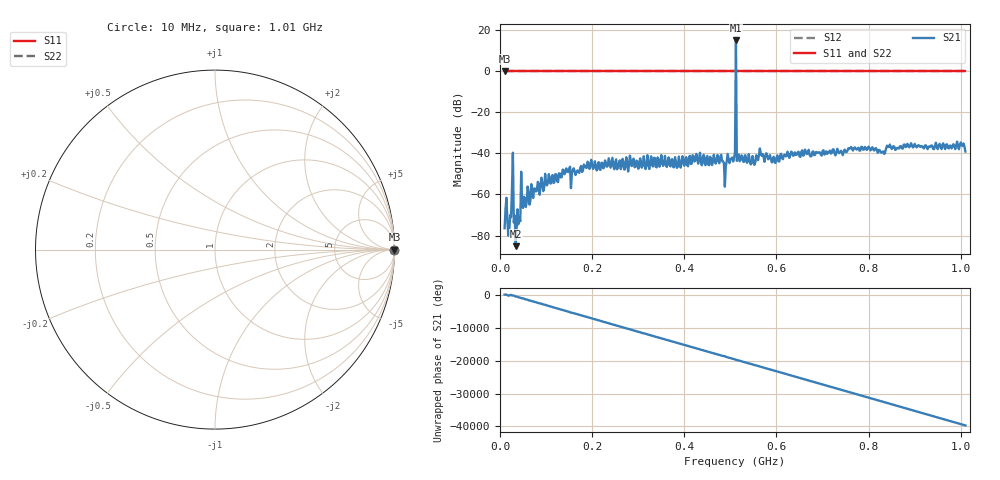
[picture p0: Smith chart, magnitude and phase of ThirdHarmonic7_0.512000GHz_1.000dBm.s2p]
! 8/17/2025 2:53:15 PM
! C:\ANRITSUVNA\TEMP\TEMP.S2P
! CHANNEL.1
! TR.MEASUREMENT
! RAW.DATA
! RF.CORRECTION.OFF
! AVERAGING.OFF
! IF.BANDWIDTH: 5KHZ
! SWEEPTYPE:  FREQ.SWEEP(Linear)
! Reference Plane Port Info
! PORT:  PORT1  PORT2
! DISTANCE:  0  m  0  m
! TIME:  0  s  0  s
! PHASE.OFFSET:  0  deg.  0  deg.
! LOSS:  0  dB  0  dB
! REF.LOSS:  0  dB  0  dB
! REF.FREQ:  0  Hz  0  Hz
! Power Info
! POWER:  -20  dBm  -20  dBm
! EFF.POWER:  -20  dBm  -20  dBm
! SOURCE.ATTEN:  0  dB  0  dB
! TEST.ATTEN:  0  dB  0  dB
# GHZ S RI R 50.0
! FREQ.GHZ  S11RE  S11IM  S21RE  S21IM  S12RE  S12IM  S22RE  S22IM
!; PortSelection: Port_12
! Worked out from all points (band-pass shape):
!   501 points, 10 MHz to 1.01 GHz, reference 50 ohm
!   highest |S21| = 14.82 dB at 512 MHz (marker M1); lowest = -85.2 dB at 34 MHz (marker M2)
!   |S21| within 3 dB of the highest: 511.8894 MHz to 512.1025 MHz (213.1 kHz wide, 0.0416 % of centre)
!   lowest |S11| = 0.0 dB at 10 MHz (marker M3)
!   |S11| at or under -10 dB: nowhere
!   |S22| runs from 0.0 to 0.0 dB; largest |S21 - S12| = 5.3
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0.01  1 0  1.5e-06 0.00015  1 0  1 0
0.02  1 0  -0.000121 1.86e-05  1 0  1 0
0.024  1 0  0.000275 3.98e-05  1 0  1 0
0.028  1 0  -0.00951 -0.00396  1 0  1 0
0.034  1 0  -2.94e-05 -4.66e-05  1 0  1 0
0.04  1 0  0.000187 2.38e-05  1 0  1 0
0.05  1 0  0.000351 0.000309  1 0  1 0
0.052  1 0  0.000549 -0.000686  1 0  1 0
0.102  1 0  0.00148 0.000718  1 0  1 0
0.178  1 0  -0.00332 -0.0011  1 0  1 0
0.344  1 0  0.00669 -0.00224  1 0  1 0
0.476  1 0  -0.0026 0.00507  1 0  1 0
0.488  1 0  0.000157 0.00153  1 0  1 0
0.506  1 0  0.00616 -0.00116  1 0  1 0
0.508  1 0  0.00124 -0.00743  1 0  1 0
0.51  1 0  -0.0105 0.00172  1 0  1 0
0.512  1 0  1.515 5.293  1 0  1 0
0.516  1 0  0.00632 -0.00558  1 0  1 0
0.518  1 0  -0.00716 -0.00595  1 0  1 0
0.678  1 0  0.00573 -0.00922  1 0  1 0
0.844  1 0  -0.00698 0.0125  1 0  1 0
1.01  1 0  0.00104 -0.0109  1 0  1 0
